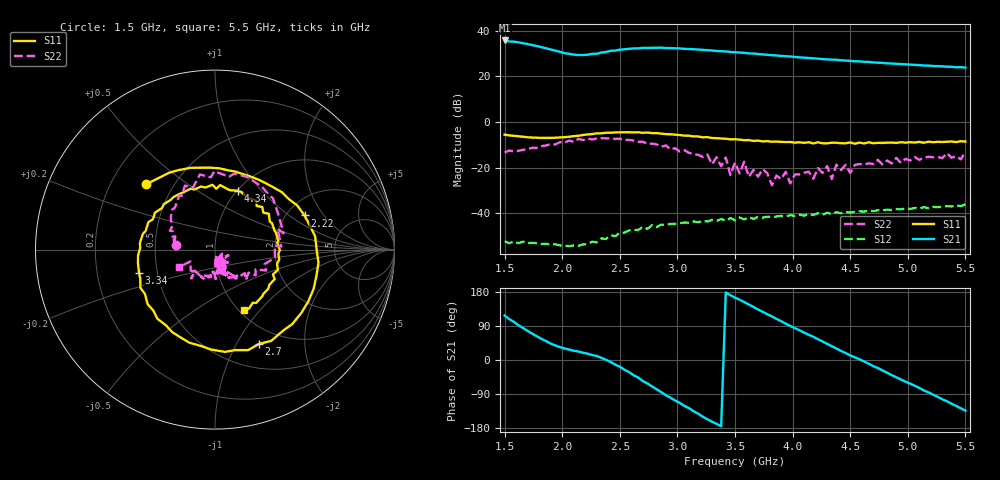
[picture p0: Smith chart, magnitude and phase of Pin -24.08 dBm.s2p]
! RsaToolbox (C) 2015 Rohde & Schwarz America
! Number of points: 101
! Number of ports: 2
! Balanced ports?: No
# Hz S RI R 50
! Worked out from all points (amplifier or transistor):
!   101 points, 1.5 GHz to 5.5 GHz, reference 50 ohm
!   highest |S21| = 35.7 dB at 1.5 GHz (marker M1)
!   |S21| within 3 dB of that: start of sweep to 1.825 GHz
!   unconditionally stable (mu >= 1): start of sweep to end of sweep
!   at 2.14 GHz: K = 5.57, MAG = 31.3 dB, |S12| = -54.2 dB
!   at 3.5 GHz: K = 1.88, MAG = 31.4 dB, |S12| = -43.0 dB
!   at 5.5 GHz: K = 1.73, MAG = 25.0 dB, |S12| = -36.0 dB
!   S11 on the Smith chart (normalised r, x): 1.5 GHz: 0.35, +0.36; 2.22 GHz: 2.49, +1.32; 2.7 GHz: 0.79, -1.24; 3.34 GHz: 0.39, -0.13; 4.34 GHz: 1.01, +0.75; 5.5 GHz: 1.06, -0.82
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1.5e9  -0.3821 0.3646  -28.06 54.25  0.00162 -0.00185  -0.2156 0.0265
1.62e9  -0.202 0.4429  -1.718 55.71  0.000914 -0.00204  -0.2213 0.0743
1.78e9  0.0249 0.4527  21.2 40.85  0.000229 -0.0022  -0.2355 0.1339
1.98e9  0.2426 0.3897  28.54 19.25  -0.000575 -0.0019  -0.1991 0.3034
2.18e9  0.4584 0.2459  27.7 9.593  -0.00054 -0.00202  -0.0231 0.4025
2.22e9  0.4989 0.1903  28.48 8.688  -0.000478 -0.00204  -0.00403 0.4364
2.34e9  0.5664 -0.00141  32.95 3.285  -0.00105 -0.00265  0.1761 0.4062
2.5e9  0.5194 -0.2898  36.55 -11.6  -0.00227 -0.00301  0.3223 0.2867
2.7e9  0.2456 -0.5249  23.73 -34.76  -0.00441 -0.00256  0.3692 0.0176
2.86e9  -0.0234 -0.5566  3.714 -42.28  -0.0056 -0.000978  0.2756 -0.0814
3.02e9  -0.2381 -0.4601  -16 -37.59  -0.00593 0.00157  0.1868 -0.1284
3.14e9  -0.3429 -0.3404  -27.83 -27.81  -0.00595 0.00302  0.1149 -0.1622
3.34e9  -0.4235 -0.1305  -35.13 -7.122  -0.00383 0.00564  0.075 -0.1518
3.5e9  -0.4183 0.0366  -32.48 9.026  -0.00201 0.00675  0.02 -0.128
3.7e9  -0.3347 0.2054  -21.15 22.5  0.00109 0.00833  0.0222 -0.06
3.86e9  -0.2314 0.2929  -9.06 27.16  0.00389 0.00758  0.0168 -0.065
4.18e9  0.00731 0.3389  11.93 21.75  0.00824 0.00415  -2.01e-05 -0.0572
4.34e9  0.1264 0.3284  18.71 13.81  0.00951 0.00152  0.0223 -0.0519
4.58e9  0.2634 0.2372  21.31 0.7556  0.0106 -0.00336  0.0576 -0.1052
4.86e9  0.3527 0.0473  14.67 -12.27  0.00715 -0.00952  -0.0139 -0.1231
5.18e9  0.3326 -0.164  1.385 -17.11  0.000416 -0.013  -0.0625 -0.162
5.5e9  0.1617 -0.336  -10.71 -11.26  -0.00911 -0.0129  -0.2013 -0.0974
